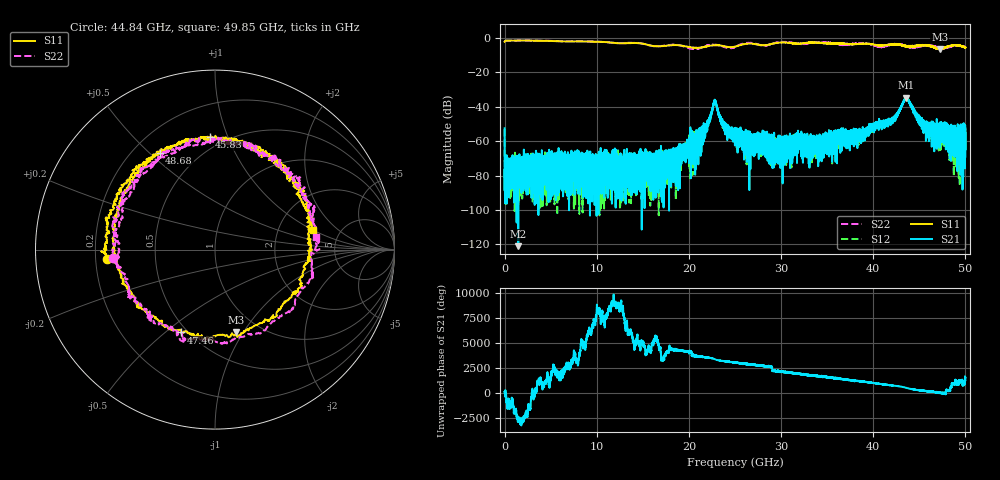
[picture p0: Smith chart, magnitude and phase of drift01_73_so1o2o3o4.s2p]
!Created with skrf (http://scikit-rf.org).
# Hz S RI R 50.0
!freq ReS11 ImS11 ReS21 ImS21 ReS12 ImS12 ReS22 ImS22
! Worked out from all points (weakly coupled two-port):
!   10001 points, 300 kHz to 50 GHz, reference 50 ohm
!   highest |S21| = -34.74 dB at 43.58 GHz (marker M1); lowest = -121.1 dB at 1.48 GHz (marker M2)
!   lowest |S11| = -6.5 dB at 47.21 GHz (marker M3), VSWR 2.81, Z = 39 - j46.4 ohm
!   |S11| at or under -10 dB: nowhere
!   |S22| runs from -6.4 to -1.4 dB; largest |S21 - S12| = 0.0038
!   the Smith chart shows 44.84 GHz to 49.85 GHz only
!   S11 on the Smith chart (normalised r, x): 44.84 GHz: 0.25, -0.04; 45.83 GHz: 0.42, +0.86; 47.46 GHz: 0.46, -0.57; 48.68 GHz: 0.31, +0.54; 49.85 GHz: 3.16, +1.02
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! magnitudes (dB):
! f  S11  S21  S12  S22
! 300 kHz  -2.1  -52.4  -52.9  -2.1
! 255.3 MHz  -1.4  -96.2  -80.9  -1.4
! 1.48 GHz  -1.4  -121.1  -77.2  -1.4
! 8.335 GHz  -1.9  -70.1  -72.5  -1.8
! 16.67 GHz  -4.8  -83.6  -80.0  -4.7
! 20.65 GHz  -5.6  -63.2  -70.5  -6.3
! 21.73 GHz  -5.1  -50.3  -53.7  -4.7
! 22.8 GHz  -4.3  -36.0  -36.1  -4.0
! 23.71 GHz  -4.6  -49.5  -49.8  -4.8
! 25 GHz  -5.0  -55.7  -57.4  -5.0
! 29.68 GHz  -2.7  -72.6  -61.8  -2.4
! 33.34 GHz  -2.6  -62.7  -60.4  -2.6
! 38.52 GHz  -3.3  -57.2  -55.3  -3.1
! 41.67 GHz  -3.9  -50.0  -48.6  -4.0
! 43.58 GHz  -4.6  -34.7  -35.1  -4.9
! 44.84 GHz  -4.4  -46.0  -46.6  -4.8
! 45.83 GHz  -4.1  -53.3  -53.5  -4.3
! 47.21 GHz  -6.5  -52.0  -54.3  -5.9
! 47.46 GHz  -6.1  -53.6  -52.5  -5.9
! 48.68 GHz  -4.1  -59.3  -64.3  -4.5
! 49.85 GHz  -5.1  -62.5  -55.8  -4.9
! 50 GHz  -5.4  -69.0  -53.9  -5.2
